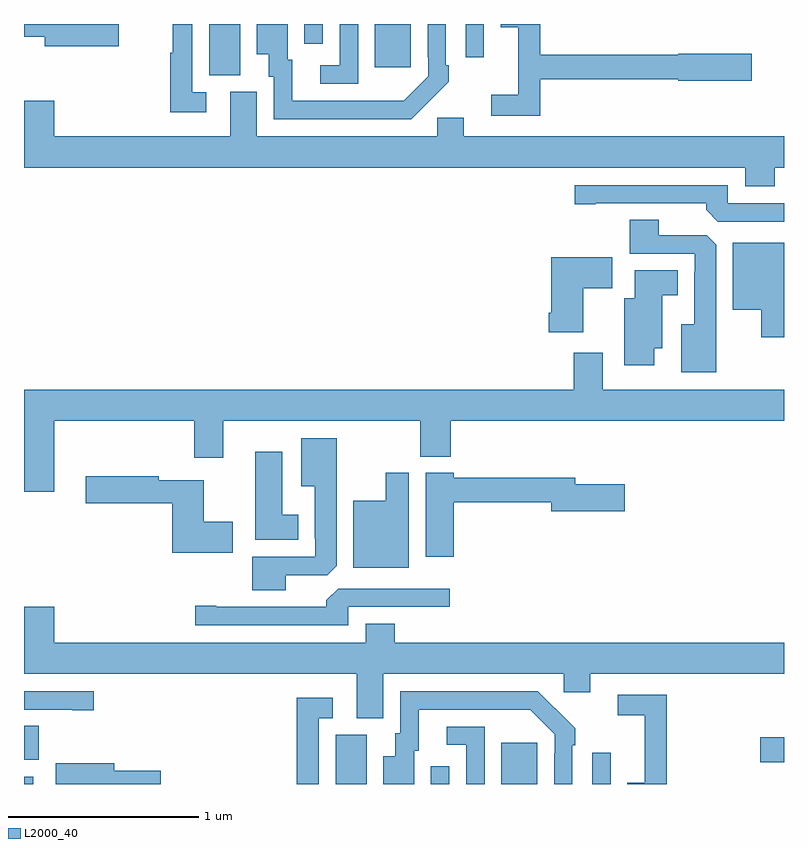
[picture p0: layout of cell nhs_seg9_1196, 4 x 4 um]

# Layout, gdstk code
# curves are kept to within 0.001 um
import gdstk
lib = gdstk.Library(unit=1e-6, precision=1e-09)
def R(c, l, rs):  # rectangles x0, y0, x1, y1
    for r in rs: c.add(gdstk.rectangle(r[:2], r[2:], *l))
def P(c, l, *ps):  # polygons
    for p in ps: c.add(gdstk.Polygon(p, *l))
L2000_40 = (2000, 40)

nhs_seg9_1196 = lib.new_cell('nhs_seg9_1196')
R(nhs_seg9_1196, L2000_40, [(177,1202.5,177.049,1202.539), (178.64,1202.5,178.804,1202.76), (179.142,1202.5,179.238,1202.593), (179.513,1202.5,179.701,1202.716), (179.991,1202.5,180.087,1202.665), (180.876,1202.615,181,1202.745), (177,1202.628,177.077,1202.807), (177.974,1206.229,178.138,1206.5), (178.847,1206.273,179.035,1206.5), (179.325,1206.324,179.421,1206.5), (178.476,1206.396,178.572,1206.5)])
P(nhs_seg9_1196, L2000_40, [(177.958,1206.141),(177.885,1206.141),(177.885,1206.5),(177.784,1206.5),(177.784,1206.348),(177.769,1206.348),(177.769,1206.036),(177.958,1206.036)],
  [(179.129,1206.091),(179.13,1206.09),(179.235,1206.195),(179.235,1206.283),(179.22,1206.283),(179.22,1206.5),(179.124,1206.5),(179.124,1206.325),(179.127,1206.325),(179.127,1206.225),(178.999,1206.097),(178.895,1206.096),(178.411,1206.096),(178.411,1206.312),(178.387,1206.312),(178.387,1206.5),(178.226,1206.5),(178.226,1206.341),(178.289,1206.341),(178.289,1206.222),(178.314,1206.222),(178.314,1206),(179.038,1206)],
  [(179.717,1206.21),(180.444,1206.21),(180.444,1206.202),(180.829,1206.202),(180.829,1206.344),(180.444,1206.344),(180.444,1206.338),(179.717,1206.338),(179.717,1206.5),(179.51,1206.5),(179.51,1206.482),(179.6,1206.482),(179.6,1206.127),(179.46,1206.127),(179.46,1206.018),(179.717,1206.018)],
  [(178.758,1206.5),(178.662,1206.5),(178.662,1206.282),(178.56,1206.282),(178.56,1206.186),(178.758,1206.186)],
  [(177.499,1206.5),(177,1206.5),(177,1206.432),(177.11,1206.432),(177.11,1206.382),(177.499,1206.382)],
  [(180.95,1205.744),(181,1205.744),(181,1205.908),(179.314,1205.908),(179.314,1206.006),(179.175,1206.006),(179.175,1205.908),(178.225,1205.908),(178.225,1206.144),(178.085,1206.144),(178.085,1205.908),(177.16,1205.908),(177.16,1206.097),(177,1206.097),(177,1205.744),(180.797,1205.744),(180.797,1205.645),(180.95,1205.645)],
  [(181,1205.556),(180.705,1205.556),(180.705,1205.652),(179.898,1205.652),(179.898,1205.551),(180.01,1205.551),(180.01,1205.556),(180.59,1205.556),(180.59,1205.522),(180.651,1205.46),(181,1205.46)],
  [(180.643,1205.339),(180.594,1205.388),(180.34,1205.388),(180.34,1205.471),(180.188,1205.471),(180.188,1205.292),(180.531,1205.292),(180.531,1205.195),(180.527,1205.195),(180.527,1204.921),(180.458,1204.921),(180.458,1204.667),(180.643,1204.667)],
  [(181,1205.35),(180.731,1205.35),(180.731,1204.997),(180.881,1204.997),(180.881,1204.851),(181,1204.851)],
  [(179.944,1205.11),(180.097,1205.11),(180.097,1205.272),(179.774,1205.272),(179.774,1204.981),(179.762,1204.981),(179.762,1204.877),(179.944,1204.877)],
  [(180.316,1204.793),(180.358,1204.793),(180.358,1205.072),(180.442,1205.072),(180.442,1205.203),(180.215,1205.203),(180.215,1205.056),(180.158,1205.056),(180.158,1204.704),(180.316,1204.704)],
  [(177.16,1204.412),(177.896,1204.412),(177.896,1204.218),(178.048,1204.218),(178.048,1204.412),(179.086,1204.412),(179.086,1204.223),(179.246,1204.223),(179.246,1204.412),(181,1204.412),(181,1204.576),(180.046,1204.576),(180.046,1204.771),(179.894,1204.771),(179.894,1204.576),(177,1204.576),(177,1204.038),(177.16,1204.038)],
  [(178.378,1203.6),(178.596,1203.6),(178.645,1203.649),(178.645,1204.321),(178.46,1204.321),(178.46,1204.067),(178.529,1204.067),(178.529,1203.793),(178.533,1203.793),(178.533,1203.696),(178.202,1203.696),(178.202,1203.521),(178.378,1203.521)],
  [(178.444,1203.916),(178.36,1203.916),(178.36,1204.249),(178.217,1204.249),(178.217,1203.785),(178.444,1203.785)],
  [(179.261,1203.982),(179.774,1203.982),(179.774,1203.935),(180.163,1203.935),(180.163,1204.077),(179.902,1204.077),(179.902,1204.111),(179.261,1204.111),(179.261,1204.138),(179.114,1204.138),(179.114,1203.696),(179.261,1203.696)],
  [(179.026,1204.138),(178.904,1204.138),(178.904,1203.991),(178.733,1203.991),(178.733,1203.638),(179.026,1203.638)],
  [(178.099,1203.879),(177.946,1203.879),(177.946,1204.099),(177.708,1204.099),(177.708,1204.119),(177.324,1204.119),(177.324,1203.977),(177.779,1203.977),(177.779,1203.716),(178.099,1203.716)],
  [(178.707,1203.432),(179.242,1203.432),(179.242,1203.528),(178.653,1203.528),(178.592,1203.466),(178.592,1203.432),(178.012,1203.432),(178.012,1203.437),(177.9,1203.437),(177.9,1203.336),(178.707,1203.336)],
  [(178.891,1203.08),(179.841,1203.08),(179.841,1202.982),(179.98,1202.982),(179.98,1203.08),(181,1203.08),(181,1203.244),(178.952,1203.244),(178.952,1203.343),(178.799,1203.343),(178.799,1203.244),(177.16,1203.244),(177.16,1203.433),(177,1203.433),(177,1203.08),(178.751,1203.08),(178.751,1202.845),(178.891,1202.845)],
  [(179.053,1202.676),(179.077,1202.676),(179.077,1202.892),(179.665,1202.892),(179.793,1202.763),(179.793,1202.663),(179.79,1202.663),(179.79,1202.5),(179.886,1202.5),(179.886,1202.705),(179.901,1202.705),(179.901,1202.793),(179.704,1202.988),(178.98,1202.988),(178.98,1202.766),(178.955,1202.766),(178.955,1202.647),(178.892,1202.647),(178.892,1202.5),(179.053,1202.5)],
  [(177.367,1202.988),(177,1202.988),(177,1202.892),(177.254,1202.892),(177.254,1202.887),(177.367,1202.887)],
  [(180.383,1202.97),(180.126,1202.97),(180.126,1202.862),(180.266,1202.862),(180.266,1202.506),(180.176,1202.506),(180.176,1202.5),(180.383,1202.5)],
  [(178.551,1202.847),(178.624,1202.847),(178.624,1202.953),(178.435,1202.953),(178.435,1202.5),(178.551,1202.5)],
  [(179.424,1202.802),(179.226,1202.802),(179.226,1202.706),(179.328,1202.706),(179.328,1202.5),(179.424,1202.5)],
  [(177.721,1202.57),(177.475,1202.57),(177.475,1202.608),(177.168,1202.608),(177.168,1202.5),(177.721,1202.5)])

lib.write_gds('nhs_seg9_1196.gds')
